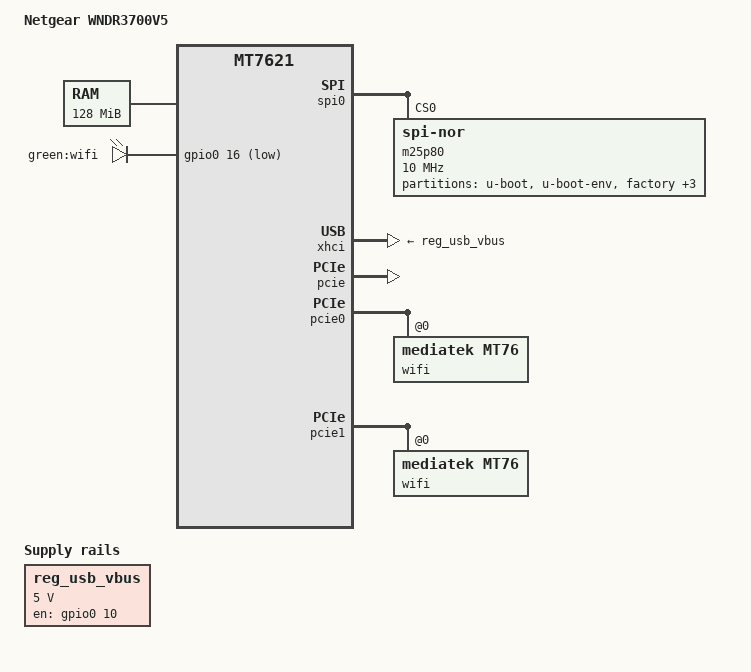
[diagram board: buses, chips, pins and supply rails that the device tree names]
/dts-v1/;

#include "mt7621.dtsi"
#include <dt-bindings/gpio/gpio.h>


/ {
	compatible = "netgear,wndr3700v5", "mediatek,mt7621-soc";
	model = "Netgear WNDR3700V5";

	memory@0 {
		device_type = "memory";
		reg = <0x0 0x8000000>;
	};
	chosen {
		bootargs = "console=ttyS0,57600";
	};

	leds: leds {
		compatible = "gpio-leds";

		wifi {
			gpios = <&gpio0 16 GPIO_ACTIVE_LOW>;
			label = "green:wifi";
			linux,default-trigger = "phy0tpt";
		};
	};

	reg_usb_vbus: regulator {
		compatible = "regulator-fixed";
		regulator-name = "usb_vbus";
		regulator-min-microvolt = <5000000>;
		regulator-max-microvolt = <5000000>;
		gpio = <&gpio0 10 GPIO_ACTIVE_HIGH>;
		enable-active-high;
	};

};


&spi0 {
	status = "okay";
	m25p80@0 {
		compatible = "jedec,spi-nor";
		reg = <0>;
		spi-max-frequency = <10000000>;

		partitions {
			compatible = "fixed-partitions";
			#address-cells = <1>;
			#size-cells = <1>;

			partition@0 {
				label = "u-boot";
				reg = <0x0 0x30000>;
			};

			partition@30000 {
				label = "u-boot-env";
				reg = <0x30000 0x4000>;
			};

			factory: partition@f30000 {
				label = "factory";
				reg = <0xf30000 0x10000>;
			};
			partition@50000 {
				compatible = "denx,uimage";
				label = "linux";
				reg = <0x50000 0xed0000>;
			};

			partition@ed00000 {
				label = "nvram";
				reg = <0xed0000 0x10000>;
			};
			partition@0000000 {
				label = "fullflash";
				reg = <0x000000 0x1000000>;
			};

		};
	};
};

&xhci {
	vbus-supply = <&reg_usb_vbus>;
};

&pcie {
	status = "okay";
};

&pcie0 {
	wifi@0,0 {
		compatible = "mediatek,mt76";
		reg = <0x0 0 0 0 0>;
		mediatek,mtd-eeprom = <&factory 0x8000>;
		mediatek,disable_2ghz = <1>;
		ieee80211-freq-limit = <5000000 6000000>;
	};
};

&pcie1 {
	wifi@0,0 {
		compatible = "mediatek,mt76";
		reg = <0x0 0 0 0 0>;
		mediatek,mtd-eeprom = <&factory 0x0>;
		mediatek,disable_5ghz = <1>;
		ieee80211-freq-limit = <2400000 2500000>;
	};
};

&pinctrl {
	state_default: pinctrl0 {
		gpio {
			ralink,group = "uart3", "uart2", "jtag", "wdt";
			ralink,function = "gpio";
		};
	};
};

&xhci {
	status = "okay";
};

